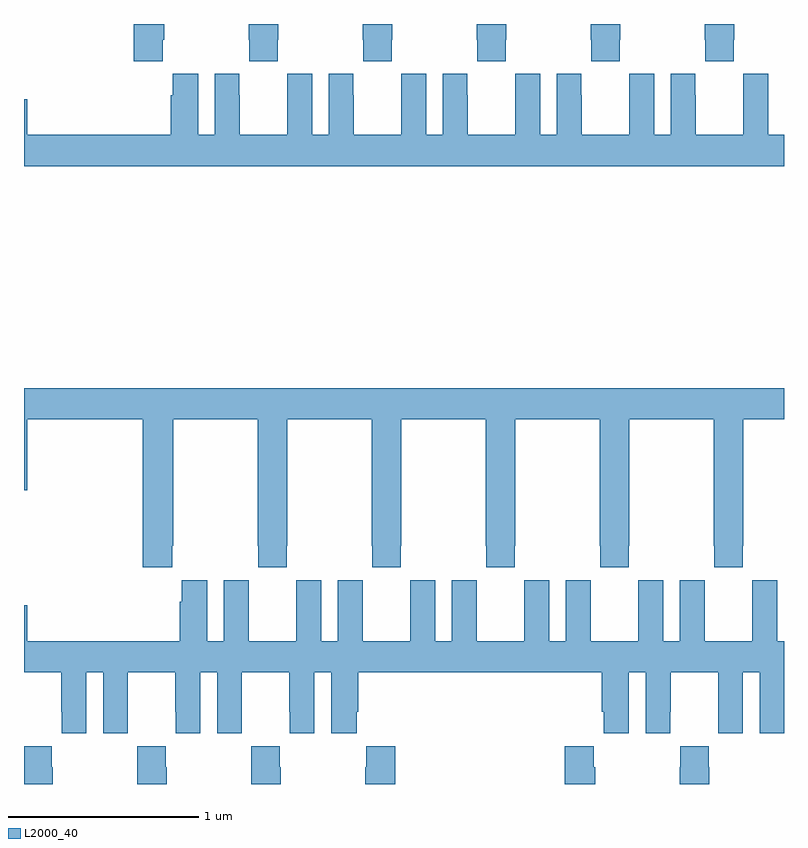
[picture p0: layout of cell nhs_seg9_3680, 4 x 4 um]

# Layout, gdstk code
import gdstk
lib = gdstk.Library(unit=1e-6, precision=1e-09)
def P(c, l, *ps):  # polygons
    for p in ps: c.add(gdstk.Polygon(p, *l))
L2000_40 = (2000, 40)

nhs_seg9_3680 = lib.new_cell('nhs_seg9_3680')
P(nhs_seg9_3680, L2000_40, [(324.735,1198.417),(324.738,1198.417),(324.738,1198.5),(324.583,1198.5),(324.583,1198.417),(324.585,1198.417),(324.585,1198.305),(324.735,1198.305)],
  [(324.135,1198.417),(324.138,1198.417),(324.138,1198.5),(323.983,1198.5),(323.983,1198.417),(323.985,1198.417),(323.985,1198.305),(324.135,1198.305)],
  [(323.535,1198.417),(323.538,1198.417),(323.538,1198.5),(323.383,1198.5),(323.383,1198.417),(323.385,1198.417),(323.385,1198.305),(323.535,1198.305)],
  [(322.935,1198.417),(322.938,1198.417),(322.938,1198.5),(322.783,1198.5),(322.783,1198.417),(322.785,1198.417),(322.785,1198.305),(322.935,1198.305)],
  [(322.335,1198.417),(322.338,1198.417),(322.338,1198.5),(322.183,1198.5),(322.183,1198.417),(322.185,1198.417),(322.185,1198.305),(322.335,1198.305)],
  [(321.731,1198.417),(321.738,1198.417),(321.738,1198.5),(321.578,1198.5),(321.578,1198.305),(321.731,1198.305)],
  [(325,1197.916),(324.916,1197.916),(324.916,1198.237),(324.786,1198.237),(324.786,1198.124),(324.785,1198.124),(324.785,1197.916),(324.535,1197.916),(324.535,1198.124),(324.534,1198.124),(324.534,1198.237),(324.404,1198.237),(324.404,1197.916),(324.316,1197.916),(324.316,1198.237),(324.186,1198.237),(324.186,1198.124),(324.185,1198.124),(324.185,1197.916),(323.935,1197.916),(323.935,1198.124),(323.934,1198.124),(323.934,1198.237),(323.804,1198.237),(323.804,1197.916),(323.716,1197.916),(323.716,1198.237),(323.586,1198.237),(323.586,1198.124),(323.585,1198.124),(323.585,1197.916),(323.335,1197.916),(323.335,1198.124),(323.334,1198.124),(323.334,1198.237),(323.204,1198.237),(323.204,1197.916),(323.116,1197.916),(323.116,1198.237),(322.986,1198.237),(322.986,1198.124),(322.985,1198.124),(322.985,1197.916),(322.735,1197.916),(322.735,1198.124),(322.734,1198.124),(322.734,1198.237),(322.604,1198.237),(322.604,1197.916),(322.516,1197.916),(322.516,1198.237),(322.386,1198.237),(322.386,1198.124),(322.385,1198.124),(322.385,1197.916),(322.135,1197.916),(322.135,1198.124),(322.134,1198.124),(322.134,1198.237),(322.004,1198.237),(322.004,1197.916),(321.916,1197.916),(321.916,1198.237),(321.782,1198.237),(321.782,1198.124),(321.773,1198.124),(321.773,1197.916),(321.016,1197.916),(321.016,1198.105),(321,1198.105),(321,1197.752),(325,1197.752)],
  [(321,1196.046),(321.016,1196.046),(321.016,1196.42),(321.626,1196.42),(321.626,1195.641),(321.779,1195.641),(321.779,1195.753),(321.786,1195.753),(321.786,1196.42),(322.231,1196.42),(322.231,1195.753),(322.233,1195.753),(322.233,1195.641),(322.383,1195.641),(322.383,1195.753),(322.386,1195.753),(322.386,1196.42),(322.831,1196.42),(322.831,1195.753),(322.833,1195.753),(322.833,1195.641),(322.983,1195.641),(322.983,1195.753),(322.986,1195.753),(322.986,1196.42),(323.431,1196.42),(323.431,1195.753),(323.433,1195.753),(323.433,1195.641),(323.583,1195.641),(323.583,1195.753),(323.586,1195.753),(323.586,1196.42),(324.031,1196.42),(324.031,1195.753),(324.033,1195.753),(324.033,1195.641),(324.183,1195.641),(324.183,1195.753),(324.186,1195.753),(324.186,1196.42),(324.631,1196.42),(324.631,1195.753),(324.633,1195.753),(324.633,1195.641),(324.783,1195.641),(324.783,1195.753),(324.786,1195.753),(324.786,1196.42),(325,1196.42),(325,1196.584),(321,1196.584)],
  [(324.041,1194.88),(324.05,1194.88),(324.05,1194.768),(324.184,1194.768),(324.184,1195.088),(324.272,1195.088),(324.272,1194.768),(324.402,1194.768),(324.402,1194.88),(324.403,1194.88),(324.403,1195.088),(324.653,1195.088),(324.653,1194.88),(324.654,1194.88),(324.654,1194.768),(324.784,1194.768),(324.784,1195.088),(324.872,1195.088),(324.872,1194.768),(325,1194.768),(325,1195.252),(324.964,1195.252),(324.964,1195.573),(324.834,1195.573),(324.834,1195.46),(324.833,1195.46),(324.833,1195.252),(324.583,1195.252),(324.583,1195.46),(324.582,1195.46),(324.582,1195.573),(324.452,1195.573),(324.452,1195.252),(324.364,1195.252),(324.364,1195.573),(324.234,1195.573),(324.234,1195.46),(324.233,1195.46),(324.233,1195.252),(323.983,1195.252),(323.983,1195.46),(323.982,1195.46),(323.982,1195.573),(323.852,1195.573),(323.852,1195.252),(323.764,1195.252),(323.764,1195.573),(323.634,1195.573),(323.634,1195.46),(323.633,1195.46),(323.633,1195.252),(323.383,1195.252),(323.383,1195.46),(323.382,1195.46),(323.382,1195.573),(323.252,1195.573),(323.252,1195.252),(323.164,1195.252),(323.164,1195.573),(323.034,1195.573),(323.034,1195.46),(323.033,1195.46),(323.033,1195.252),(322.783,1195.252),(322.783,1195.46),(322.782,1195.46),(322.782,1195.573),(322.652,1195.573),(322.652,1195.252),(322.564,1195.252),(322.564,1195.573),(322.434,1195.573),(322.434,1195.46),(322.433,1195.46),(322.433,1195.252),(322.183,1195.252),(322.183,1195.46),(322.182,1195.46),(322.182,1195.573),(322.052,1195.573),(322.052,1195.252),(321.964,1195.252),(321.964,1195.573),(321.83,1195.573),(321.83,1195.46),(321.821,1195.46),(321.821,1195.252),(321.016,1195.252),(321.016,1195.441),(321,1195.441),(321,1195.088),(321.197,1195.088),(321.197,1194.88),(321.198,1194.88),(321.198,1194.768),(321.328,1194.768),(321.328,1195.088),(321.416,1195.088),(321.416,1194.768),(321.546,1194.768),(321.546,1194.88),(321.547,1194.88),(321.547,1195.088),(321.797,1195.088),(321.797,1194.88),(321.798,1194.88),(321.798,1194.768),(321.928,1194.768),(321.928,1195.088),(322.016,1195.088),(322.016,1194.768),(322.146,1194.768),(322.146,1194.88),(322.147,1194.88),(322.147,1195.088),(322.397,1195.088),(322.397,1194.88),(322.398,1194.88),(322.398,1194.768),(322.528,1194.768),(322.528,1195.088),(322.616,1195.088),(322.616,1194.768),(322.75,1194.768),(322.75,1194.88),(322.76,1194.88),(322.76,1195.088),(324.041,1195.088)],
  [(321.15,1194.587),(321.147,1194.587),(321.147,1194.7),(321,1194.7),(321,1194.5),(321.15,1194.5)],
  [(324.606,1194.587),(324.603,1194.587),(324.603,1194.7),(324.453,1194.7),(324.453,1194.587),(324.451,1194.587),(324.451,1194.5),(324.606,1194.5)],
  [(324.006,1194.587),(323.999,1194.587),(323.999,1194.7),(323.846,1194.7),(323.846,1194.5),(324.006,1194.5)],
  [(322.955,1194.7),(322.801,1194.7),(322.801,1194.587),(322.795,1194.587),(322.795,1194.5),(322.955,1194.5)],
  [(322.35,1194.587),(322.347,1194.587),(322.347,1194.7),(322.197,1194.7),(322.197,1194.587),(322.195,1194.587),(322.195,1194.5),(322.35,1194.5)],
  [(321.75,1194.587),(321.747,1194.587),(321.747,1194.7),(321.597,1194.7),(321.597,1194.587),(321.595,1194.587),(321.595,1194.5),(321.75,1194.5)])

lib.write_gds('nhs_seg9_3680.gds')
